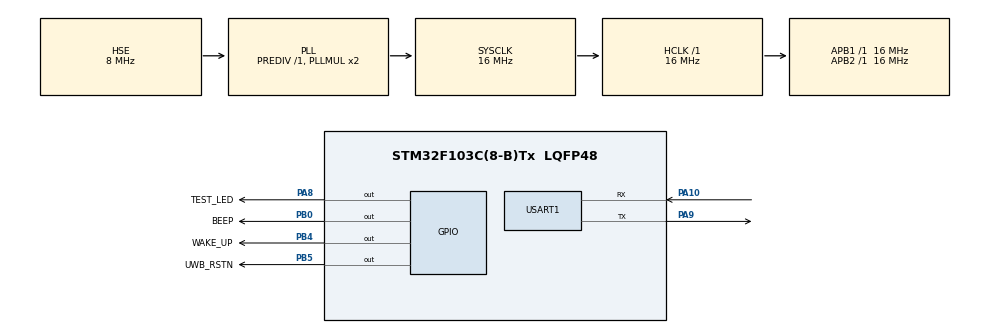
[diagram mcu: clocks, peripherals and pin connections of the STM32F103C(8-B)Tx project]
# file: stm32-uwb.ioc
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Dma.Request0=USART1_RX
Dma.Request1=USART1_TX
Dma.USART1_RX.0.Direction=DMA_PERIPH_TO_MEMORY
Dma.USART1_RX.0.Instance=DMA1_Channel5
Dma.USART1_RX.0.MemDataAlignment=DMA_MDATAALIGN_BYTE
Dma.USART1_RX.0.MemInc=DMA_MINC_ENABLE
Dma.USART1_RX.0.Mode=DMA_CIRCULAR
Dma.USART1_RX.0.PeriphDataAlignment=DMA_PDATAALIGN_BYTE
Dma.USART1_RX.0.PeriphInc=DMA_PINC_DISABLE
Dma.USART1_RX.0.Priority=DMA_PRIORITY_LOW
Dma.USART1_TX.1.Direction=DMA_MEMORY_TO_PERIPH
Dma.USART1_TX.1.Instance=DMA1_Channel4
Dma.USART1_TX.1.MemDataAlignment=DMA_MDATAALIGN_BYTE
Dma.USART1_TX.1.MemInc=DMA_MINC_ENABLE
Dma.USART1_TX.1.Mode=DMA_NORMAL
Dma.USART1_TX.1.PeriphDataAlignment=DMA_PDATAALIGN_BYTE
Dma.USART1_TX.1.PeriphInc=DMA_PINC_DISABLE
Dma.USART1_TX.1.Priority=DMA_PRIORITY_LOW
Mcu.Family=STM32F1
Mcu.Name=STM32F103C(8-B)Tx
Mcu.Package=LQFP48
NVIC.DMA1_Channel4_IRQn=true\:0\:0\:false\:false\:true\:false\:true\:true
NVIC.DMA1_Channel5_IRQn=true\:0\:0\:false\:false\:true\:false\:true\:true
NVIC.PriorityGroup=NVIC_PRIORITYGROUP_4
NVIC.USART1_IRQn=true\:0\:0\:false\:false\:true\:true\:true\:true
PA10.Mode=Asynchronous
PA10.Signal=USART1_RX
PA13.Mode=Serial_Wire
PA13.Signal=SYS_JTMS-SWDIO
PA14.Mode=Serial_Wire
PA14.Signal=SYS_JTCK-SWCLK
PA8.GPIO_Label=TEST_LED
PA8.GPIO_PuPd=GPIO_PULLUP
PA8.PinState=GPIO_PIN_SET
PA8.Signal=GPIO_Output
PA9.Mode=Asynchronous
PA9.Signal=USART1_TX
PB0.GPIO_Label=BEEP
PB0.GPIO_PuPd=GPIO_PULLDOWN
PB0.Signal=GPIO_Output
PB4.GPIO_Label=WAKE_UP
PB4.Signal=GPIO_Output
PB5.GPIO_Label=UWB_RSTN
PB5.Signal=GPIO_Output
PD0-OSC_IN.Mode=HSE-External-Oscillator
PD0-OSC_IN.Signal=RCC_OSC_IN
PD1-OSC_OUT.Mode=HSE-External-Oscillator
PD1-OSC_OUT.Signal=RCC_OSC_OUT
ProjectManager.HeapSize=0x200
ProjectManager.StackSize=0x400
ProjectManager.TargetToolchain=CMake
RCC.AHBFreq_Value=16000000
RCC.APB1Freq_Value=16000000
RCC.APB1TimFreq_Value=16000000
RCC.APB2Freq_Value=16000000
RCC.APB2TimFreq_Value=16000000
RCC.HCLKFreq_Value=16000000
RCC.PLLSourceVirtual=RCC_PLLSOURCE_HSE
RCC.SYSCLKFreq_VALUE=16000000
RCC.SYSCLKSource=RCC_SYSCLKSOURCE_PLLCLK
RCC.USBFreq_Value=16000000
USART1.VirtualMode=VM_ASYNC
board=custom

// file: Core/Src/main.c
/* USER CODE BEGIN Header */
/**
 ******************************************************************************
 * @file           : main.c
 * @brief          : Main program body
 ******************************************************************************
 * @attention
 *
 * Copyright (c) 2025 STMicroelectronics.
 * All rights reserved.
 *
 * This software is licensed under terms that can be found in the LICENSE file
 * in the root directory of this software component.
 * If no LICENSE file comes with this software, it is provided AS-IS.
 *
 ******************************************************************************
 */
/* USER CODE END Header */
#include "main.h"

/* USER CODE BEGIN Includes */
#include "stm32f1xx_hal.h"
#include "stm32f1xx_hal_dma.h"
#include "stm32f1xx_hal_gpio.h"
#include "stm32f1xx_hal_uart.h"
#include "uart.h"
#include "uwb.h"
#include <stdint.h>
#include <stdio.h>
#include <stdlib.h>
#include <string.h>
#include <time.h>
/* USER CODE END Includes */

/* USER CODE BEGIN PD */
#if !(defined(ALERT_MODE))
#define ALERT_MODE (0) // 0: led, 1: beep
#endif

#if !(defined(UWB_DIST_THRESHOLD))
#define UWB_DIST_THRESHOLD (300)
#endif

#if !(defined(UWB_ENABLE_HIGH_PERFORMANCE))
#define UWB_ENABLE_HIGH_PERFORMANCE (1)
#endif

#if !(defined(UWB_SCAN_INTERVAL))
#define UWB_SCAN_INTERVAL 1000
#endif
#define UWB_SCAN(interval)                                                     \
  do {                                                                         \
    char param[16] = {0};                                                      \
    sprintf(param, "AT+SCAN=%d,1\r\n", interval);                              \
    uwb_cmd(param);                                                            \
  } while (0)

#if !(defined(UWB_SCAN_CHANNEL))
#define UWB_SCAN_CHANNEL 5
#endif
#define UWB_SET_CHANNEL(channel)                                               \
  do {                                                                         \
    char param[16] = {0};                                                      \
    sprintf(param, "AT+RANGECH=%d\r\n", channel);                              \
    uwb_cmd(param);                                                            \
  } while (0)
/* USER CODE END PD */

/* Private macro
   -------------------------------------------------------------*/

/* Private variables
   ---------------------------------------------------------*/
UART_HandleTypeDef huart1;
DMA_HandleTypeDef hdma_usart1_tx;
DMA_HandleTypeDef hdma_usart1_rx;

void SystemClock_Config(void);
static void MX_GPIO_Init(void);
static void MX_DMA_Init(void);
static void MX_USART1_UART_Init(void);

/* USER CODE BEGIN 0 */
extern uint8_t *rx_buffer;
extern enum uwb_state_t_ uwb_state;
extern uwb_beacon uwb_beacon_info_global[4];
extern uint8_t buffer_update;

/* USER CODE END 0 */

int main(void) {

  /* MCU Configuration--------------------------------------------------------*/

  /* Reset of all peripherals, Initializes the Flash interface and the Systick.
   */
  HAL_Init();

  /* Configure the system clock */
  SystemClock_Config();

  /* Initialize all configured peripherals */
  MX_GPIO_Init();
  MX_DMA_Init();
  MX_USART1_UART_Init();

  /* Infinite loop */
  /* USER CODE BEGIN WHILE */

  low_level_init();
  m_start_receive();
  srand(time(NULL));

#ifdef LED_TEST
  while (1) {
    HAL_Delay(100);
    HAL_GPIO_WritePin(TEST_LED_GPIO_Port, TEST_LED_Pin, GPIO_PIN_RESET);
    HAL_Delay(100);
    HAL_GPIO_WritePin(TEST_LED_GPIO_Port, TEST_LED_Pin, GPIO_PIN_SET);
  }
#endif

  // test if uwb module is available
  uwb_cmd("AT\r\n");

  // uwb_cmd("AT+DEVID?\r\n");

  // configure channel(5 or 9)
  UWB_SET_CHANNEL(UWB_SCAN_CHANNEL);
  // uwb_cmd((uint8_t *)"AT+RANGECH=5\r\n");

// enable/disable high performance mode
#if (UWB_ENABLE_HIGH_PERFORMANCE == 1)
  uwb_cmd("AT+PERFORMANCE=1\r\n");
#else
  uwb_cmd("AT+PERFORMANCE=0\r\n");
#endif
  // save parameters
  uwb_cmd((uint8_t *)"AT+SAVE\r\n");

  int detected = 0; // how many gateway were detected
  int undetected_times = 0;
  uint32_t delay_time = 0;
  while (1) {
    // wait for module ok
    while (uwb_state != UWB_OK) {
      while (buffer_update == 0) {
        HAL_Delay(100);
        uwb_wakeup();
        send_string((uint8_t *)"AT\r\n");
      }
      process_buffer();
    }
    // uwb_cmd((uint8_t *)"AT+SCAN=500,1\r\n");
    UWB_SCAN(UWB_SCAN_INTERVAL);

#if (ALERT_MODE == 1)
    for (int i = 0; i < 4; i++) {
      if (uwb_beacon_info_global[i].id != 0) {
        if (uwb_beacon_info_global[i].dist < UWB_DIST_THRESHOLD) {
          HAL_GPIO_WritePin(BEEP_GPIO_Port, BEEP_Pin, GPIO_PIN_SET);
        } else {
          HAL_GPIO_WritePin(BEEP_GPIO_Port, BEEP_Pin, GPIO_PIN_RESET);
        }
      }
    }
#else
    for (int i = 0; i < 4; i++) {
      if (uwb_beacon_info_global[i].id != 0) {
        detected += 1;
        if (uwb_beacon_info_global[i].dist < UWB_DIST_THRESHOLD) {
          HAL_GPIO_WritePin(TEST_LED_GPIO_Port, TEST_LED_Pin, GPIO_PIN_SET);
        } else {
          HAL_GPIO_WritePin(TEST_LED_GPIO_Port, TEST_LED_Pin, GPIO_PIN_RESET);
        }
      }
    }
    if (detected == 0) { // gateway is too far to detect any
      undetected_times++;
      if (undetected_times > 3) {
        // we should give the uwb module and beacon a few channces
        HAL_GPIO_WritePin(TEST_LED_GPIO_Port, TEST_LED_Pin, GPIO_PIN_RESET);
        undetected_times = 0;
      }
      // else {
      //   // and we should wait a few while here, let other tag communicate
      //   uint32_t delay_time = rand() % (undetected_times * 300);
      //   HAL_Delay(delay_time);
      // }
    } else {
      undetected_times = 0;
    }
    detected = 0;
#endif
    // process_buffer();

    // delay_time = rand() % 200 + 600 - undetected_times * 200;
    delay_time = rand() % (650 - undetected_times * 200) +
                 (350 - undetected_times * 100);
    // delay_time = rand() % (850 - undetected_times * 200);
    HAL_Delay(delay_time);
    // HAL_Delay(100);
    /* USER CODE END WHILE */

  }
}

void SystemClock_Config(void) {
  RCC_OscInitTypeDef RCC_OscInitStruct = {0};
  RCC_ClkInitTypeDef RCC_ClkInitStruct = {0};

  /** Initializes the RCC Oscillators according to the specified parameters
   * in the RCC_OscInitTypeDef structure.
   */
  RCC_OscInitStruct.OscillatorType = RCC_OSCILLATORTYPE_HSE;
  RCC_OscInitStruct.HSEState = RCC_HSE_ON;
  RCC_OscInitStruct.HSEPredivValue = RCC_HSE_PREDIV_DIV1;
  RCC_OscInitStruct.HSIState = RCC_HSI_ON;
  RCC_OscInitStruct.PLL.PLLState = RCC_PLL_ON;
  RCC_OscInitStruct.PLL.PLLSource = RCC_PLLSOURCE_HSE;
  RCC_OscInitStruct.PLL.PLLMUL = RCC_PLL_MUL2;
  if (HAL_RCC_OscConfig(&RCC_OscInitStruct) != HAL_OK) {
    Error_Handler();
  }

  /** Initializes the CPU, AHB and APB buses clocks
   */
  RCC_ClkInitStruct.ClockType = RCC_CLOCKTYPE_HCLK | RCC_CLOCKTYPE_SYSCLK |
                                RCC_CLOCKTYPE_PCLK1 | RCC_CLOCKTYPE_PCLK2;
  RCC_ClkInitStruct.SYSCLKSource = RCC_SYSCLKSOURCE_PLLCLK;
  RCC_ClkInitStruct.AHBCLKDivider = RCC_SYSCLK_DIV1;
  RCC_ClkInitStruct.APB1CLKDivider = RCC_HCLK_DIV1;
  RCC_ClkInitStruct.APB2CLKDivider = RCC_HCLK_DIV1;

  if (HAL_RCC_ClockConfig(&RCC_ClkInitStruct, FLASH_LATENCY_0) != HAL_OK) {
    Error_Handler();
  }
}

static void MX_USART1_UART_Init(void) {

  huart1.Instance = USART1;
  huart1.Init.BaudRate = 115200;
  huart1.Init.WordLength = UART_WORDLENGTH_8B;
  huart1.Init.StopBits = UART_STOPBITS_1;
  huart1.Init.Parity = UART_PARITY_NONE;
  huart1.Init.Mode = UART_MODE_TX_RX;
  huart1.Init.HwFlowCtl = UART_HWCONTROL_NONE;
  huart1.Init.OverSampling = UART_OVERSAMPLING_16;
  if (HAL_UART_Init(&huart1) != HAL_OK) {
    Error_Handler();
  }
}

static void MX_DMA_Init(void) {

  /* DMA controller clock enable */
  __HAL_RCC_DMA1_CLK_ENABLE();

  /* DMA interrupt init */
  /* DMA1_Channel4_IRQn interrupt configuration */
  HAL_NVIC_SetPriority(DMA1_Channel4_IRQn, 0, 0);
  HAL_NVIC_EnableIRQ(DMA1_Channel4_IRQn);
  /* DMA1_Channel5_IRQn interrupt configuration */
  HAL_NVIC_SetPriority(DMA1_Channel5_IRQn, 0, 0);
  HAL_NVIC_EnableIRQ(DMA1_Channel5_IRQn);
}

static void MX_GPIO_Init(void) {
  GPIO_InitTypeDef GPIO_InitStruct = {0};

  /* GPIO Ports Clock Enable */
  __HAL_RCC_GPIOD_CLK_ENABLE();
  __HAL_RCC_GPIOB_CLK_ENABLE();
  __HAL_RCC_GPIOA_CLK_ENABLE();

  /*Configure GPIO pin Output Level */
  HAL_GPIO_WritePin(GPIOB, BEEP_Pin | WAKE_UP_Pin, GPIO_PIN_RESET);
  HAL_GPIO_WritePin(UWB_RSTN_GPIO_Port, UWB_RSTN_Pin, GPIO_PIN_SET);

  /*Configure GPIO pin Output Level */
  HAL_GPIO_WritePin(TEST_LED_GPIO_Port, TEST_LED_Pin, GPIO_PIN_RESET);

  /*Configure GPIO pin : BEEP_Pin */
  GPIO_InitStruct.Pin = BEEP_Pin;
  GPIO_InitStruct.Mode = GPIO_MODE_OUTPUT_PP;
  GPIO_InitStruct.Pull = GPIO_PULLDOWN;
  GPIO_InitStruct.Speed = GPIO_SPEED_FREQ_LOW;
  HAL_GPIO_Init(BEEP_GPIO_Port, &GPIO_InitStruct);

  /*Configure GPIO pin : TEST_LED_Pin */
  GPIO_InitStruct.Pin = TEST_LED_Pin;
  GPIO_InitStruct.Mode = GPIO_MODE_OUTPUT_PP;
  GPIO_InitStruct.Pull = GPIO_PULLUP;
  GPIO_InitStruct.Speed = GPIO_SPEED_FREQ_LOW;
  HAL_GPIO_Init(TEST_LED_GPIO_Port, &GPIO_InitStruct);

  /*Configure GPIO pins : WAKE_UP_Pin UWB_RSTN_Pin */
  GPIO_InitStruct.Pin = WAKE_UP_Pin | UWB_RSTN_Pin;
  GPIO_InitStruct.Mode = GPIO_MODE_OUTPUT_PP;
  GPIO_InitStruct.Pull = GPIO_NOPULL;
  GPIO_InitStruct.Speed = GPIO_SPEED_FREQ_LOW;
  HAL_GPIO_Init(GPIOB, &GPIO_InitStruct);

}

/* USER CODE BEGIN 4 */
#ifdef __GNUC__
#include <sys/time.h>

int _gettimeofday(struct timeval *tv, void *tzvp) {

  uint64_t t = HAL_GetTick(); // get uptime in microseconds

  tv->tv_sec = t / 1000; // convert to seconds

  tv->tv_usec = t % 1000; // get remaining microseconds

  return 0; // return non-zero for error

} // end _gettimeofday()
#endif
/* USER CODE END 4 */

void Error_Handler(void) {
  __disable_irq();
  while (1) {
  }
}
